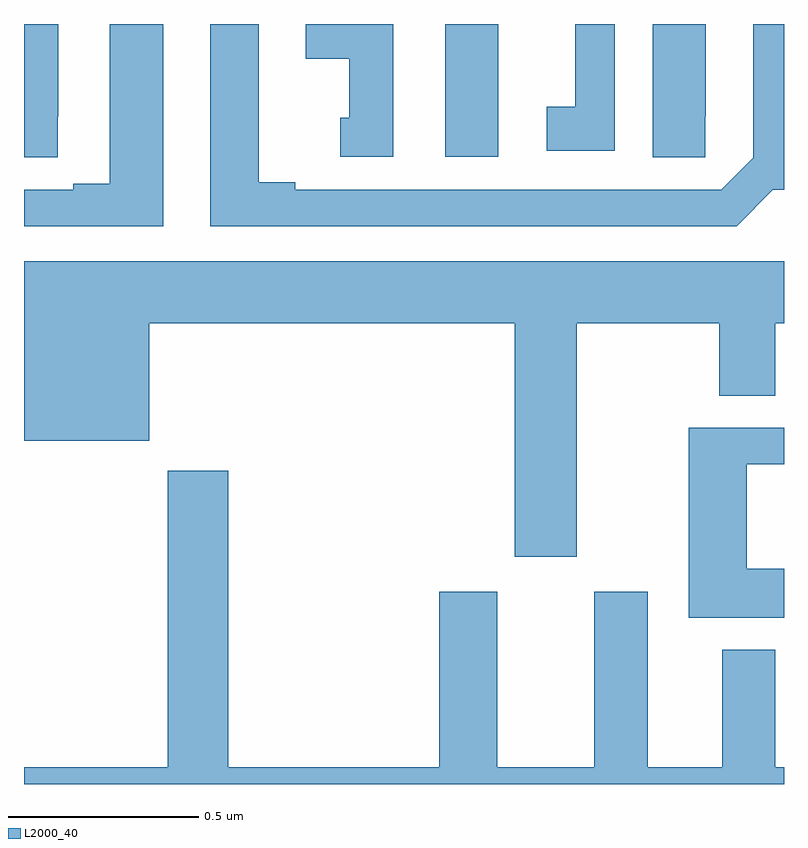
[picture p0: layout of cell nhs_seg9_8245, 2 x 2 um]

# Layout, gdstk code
import gdstk
lib = gdstk.Library(unit=1e-6, precision=1e-09)
def R(c, l, rs):  # rectangles x0, y0, x1, y1
    for r in rs: c.add(gdstk.rectangle(r[:2], r[2:], *l))
def P(c, l, *ps):  # polygons
    for p in ps: c.add(gdstk.Polygon(p, *l))
L2000_40 = (2000, 40)

nhs_seg9_8245 = lib.new_cell('nhs_seg9_8245')
R(nhs_seg9_8245, L2000_40, [(215.108,1238.151,215.248,1238.5)])
P(nhs_seg9_8245, L2000_40, [(214.366,1238.5),(214.226,1238.5),(214.226,1238.079),(214.13,1238.079),(214.13,1238.064),(214,1238.064),(214,1237.968),(214.366,1237.968)],
  [(215.971,1238.064),(216,1238.064),(216,1238.5),(215.919,1238.5),(215.919,1238.148),(215.835,1238.064),(214.714,1238.064),(214.714,1238.084),(214.618,1238.084),(214.618,1238.5),(214.49,1238.5),(214.49,1237.968),(215.875,1237.968)],
  [(215.554,1238.5),(215.45,1238.5),(215.45,1238.282),(215.376,1238.282),(215.376,1238.166),(215.554,1238.166)],
  [(214.089,1238.257),(214.09,1238.257),(214.09,1238.5),(214,1238.5),(214,1238.149),(214.089,1238.149)],
  [(214.972,1238.5),(214.742,1238.5),(214.742,1238.408),(214.856,1238.408),(214.856,1238.253),(214.832,1238.253),(214.832,1238.151),(214.972,1238.151)],
  [(215.793,1238.257),(215.794,1238.257),(215.794,1238.5),(215.654,1238.5),(215.654,1238.149),(215.793,1238.149)],
  [(215.455,1237.712),(215.83,1237.712),(215.83,1237.522),(215.977,1237.522),(215.977,1237.712),(216,1237.712),(216,1237.876),(214,1237.876),(214,1237.403),(214.33,1237.403),(214.33,1237.712),(215.291,1237.712),(215.291,1237.098),(215.455,1237.098)],
  [(216,1237.066),(215.902,1237.066),(215.902,1237.341),(216,1237.341),(216,1237.437),(215.749,1237.437),(215.749,1236.938),(216,1236.938)],
  [(216,1236.544),(215.977,1236.544),(215.977,1236.853),(215.837,1236.853),(215.837,1236.544),(215.641,1236.544),(215.641,1237.006),(215.501,1237.006),(215.501,1236.544),(215.245,1236.544),(215.245,1237.006),(215.093,1237.006),(215.093,1236.544),(214.538,1236.544),(214.538,1237.324),(214.378,1237.324),(214.378,1236.544),(214,1236.544),(214,1236.5),(216,1236.5)])

lib.write_gds('nhs_seg9_8245.gds')
